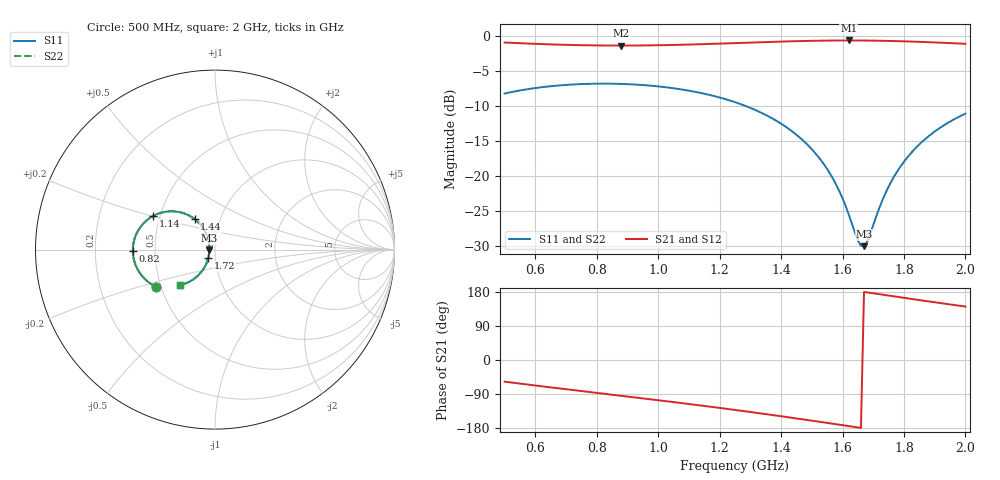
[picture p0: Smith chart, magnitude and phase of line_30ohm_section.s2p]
! Created with skrf 2.1.0 (http://scikit-rf.org).
# GHz S RI R 50.0
!freq ReS11 ImS11 ReS21 ImS21 ReS12 ImS12 ReS22 ImS22
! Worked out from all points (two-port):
!   151 points, 500 MHz to 2 GHz, reference 50 ohm
!   highest |S21| = -0.61 dB at 1.62 GHz (marker M1); lowest = -1.3 dB at 880 MHz (marker M2)
!   |S21| within 3 dB of the highest: start of sweep to end of sweep
!   lowest |S11| = -30.0 dB at 1.67 GHz (marker M3), VSWR 1.06, Z = 47 - j0.273 ohm
!   |S11| at or under -10 dB: 1.286 GHz to end of sweep
!   |S22| runs from -30.0 to -6.8 dB; largest |S21 - S12| = 1e-15
!   S11 on the Smith chart (normalised r, x): 500 MHz: 0.47, -0.23; 820 MHz: 0.37, -0.01; 1.14 GHz: 0.46, +0.20; 1.44 GHz: 0.75, +0.27; 1.72 GHz: 0.92, -0.09; 2 GHz: 0.63, -0.27
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0.5  -0.3301 -0.2062  0.4883 -0.7581  0.4883 -0.7581  -0.3301 -0.2062
0.62  -0.4051 -0.1483  0.3103 -0.8221  0.3103 -0.8221  -0.4051 -0.1483
0.75  -0.4505 -0.0613  0.1202 -0.8543  0.1202 -0.8543  -0.4505 -0.0613
0.82  -0.4579 -0.00988  0.0192 -0.8584  0.0192 -0.8584  -0.4579 -0.00988
0.88  -0.4545 0.0343  -0.0671 -0.8549  -0.0671 -0.8549  -0.4545 0.0343
1  -0.4218 0.1164  -0.2395 -0.828  -0.2395 -0.828  -0.4218 0.1164
1.14  -0.3443 0.1876  -0.4407 -0.7578  -0.4407 -0.7578  -0.3443 0.1876
1.25  -0.2621 0.2126  -0.5945 -0.6662  -0.5945 -0.6662  -0.2621 0.2126
1.35  -0.1814 0.2047  -0.7231 -0.5502  -0.7231 -0.5502  -0.1814 0.2047
1.44  -0.1142 0.1706  -0.8207 -0.418  -0.8207 -0.418  -0.1142 0.1706
1.5  -0.0773 0.1348  -0.8716 -0.3167  -0.8716 -0.3167  -0.0773 0.1348
1.57  -0.0465 0.0825  -0.9126 -0.1879  -0.9126 -0.1879  -0.0465 0.0825
1.62  -0.0344 0.0406  -0.9282 -0.0914  -0.9282 -0.0914  -0.0344 0.0406
1.65  -0.0315 0.0146  -0.9317 -0.0327  -0.9317 -0.0327  -0.0315 0.0146
1.67  -0.0313 -0.00291  -0.9316 0.00654  -0.9316 0.00654  -0.0313 -0.00291
1.68  -0.0318 -0.0116  -0.9308 0.0261  -0.9308 0.0261  -0.0318 -0.0116
1.72  -0.0373 -0.0459  -0.9227 0.1039  -0.9227 0.1039  -0.0373 -0.0459
1.75  -0.0452 -0.0706  -0.9116 0.1611  -0.9116 0.1611  -0.0452 -0.0706
1.8  -0.0647 -0.1086  -0.8841 0.2532  -0.8841 0.2532  -0.0647 -0.1086
1.85  -0.0912 -0.1414  -0.8463 0.3397  -0.8463 0.3397  -0.0912 -0.1414
1.92  -0.1371 -0.176  -0.779 0.4492  -0.779 0.4492  -0.1371 -0.176
2  -0.1969 -0.1977  -0.6864 0.5553  -0.6864 0.5553  -0.1969 -0.1977
